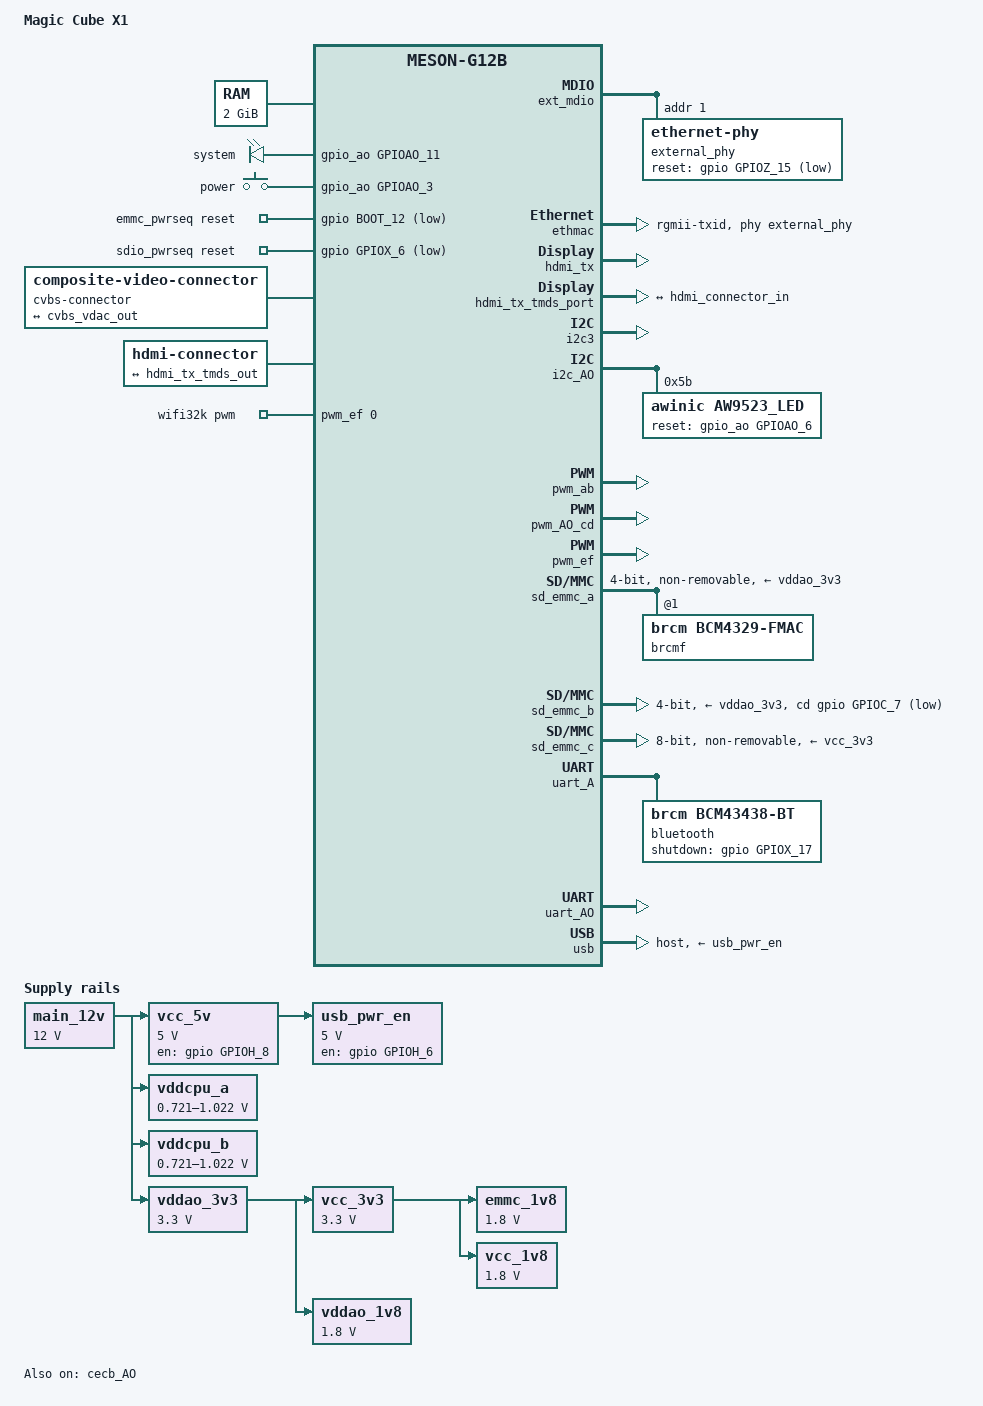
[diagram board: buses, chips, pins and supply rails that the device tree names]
/dts-v1/;

#include "meson-g12b.dtsi"
#include "meson-g12b-s922x.dtsi"
#include <dt-bindings/input/input.h>
#include <dt-bindings/leds/common.h>
#include <dt-bindings/gpio/meson-g12a-gpio.h>

/ {
	compatible = "amlogic,a311d", "amlogic,g12b";
	model = "Magic Cube X1";

	aliases {
		serial0 = &uart_AO;
		ethernet0 = &ethmac;
	};

	chosen {
		stdout-path = "serial0:115200n8";
	};

	memory@0 {
		device_type = "memory";
		reg = <0x0 0x0 0x0 0x80000000>;
	};

	leds {
		compatible = "gpio-leds";

		system-led {
			label = "system";
			gpios = <&gpio_ao GPIOAO_11 GPIO_ACTIVE_HIGH>;
			default-state = "on";
		};
	};

/*
	adc-keys {
		compatible = "adc-keys";
		io-channels = <&saradc 2>;
		io-channel-names = "buttons";
		keyup-threshold-microvolt = <1800000>;

		button-f7 {
			label = "F7";
			linux,code = <KEY_F7>;
			// press-threshold-microvolt = <10000>;
		};

		button-down {
			label = "Volume Down";
			linux,code = <KEY_VOLUMEDOWN>;
			// press-threshold-microvolt = <252000>;
		};

		button-up {
			label = "Volume Up";
			linux,code = <KEY_VOLUMEUP>;
			// press-threshold-microvolt = <468000>;
		};

		button-ctrl {
			label = "Ctrl";
			linux,code = <KEY_RIGHTCTRL>;
			// press-threshold-microvolt = <0>;
		};
	};
*/
	gpio-keys-polled {
		compatible = "gpio-keys-polled";
		poll-interval = <100>;

		power-button {
			label = "power";
			linux,code = <KEY_POWER>;
			gpios = <&gpio_ao GPIOAO_3 GPIO_ACTIVE_HIGH>; // sch
		};
	};

	emmc_pwrseq: emmc-pwrseq {
		compatible = "mmc-pwrseq-emmc";
		reset-gpios = <&gpio BOOT_12 GPIO_ACTIVE_LOW>; // sch
	};

	sdio_pwrseq: sdio-pwrseq {
		compatible = "mmc-pwrseq-simple";
		reset-gpios = <&gpio GPIOX_6 GPIO_ACTIVE_LOW>; // sch
		clocks = <&wifi32k>;
		clock-names = "ext_clock";
	};

	emmc_1v8: regulator-emmc_1v8 { // sch: flash
		compatible = "regulator-fixed";
		regulator-name = "EMMC_1V8";
		regulator-min-microvolt = <1800000>;
		regulator-max-microvolt = <1800000>;
		vin-supply = <&vcc_3v3>;
		regulator-always-on;
	};

	main_12v: regulator-main_12v { // sch
		compatible = "regulator-fixed";
		regulator-name = "12V";
		regulator-min-microvolt = <12000000>;
		regulator-max-microvolt = <12000000>;
		regulator-always-on;
	};

	vcc_5v: regulator-vcc_5v {
		compatible = "regulator-fixed";
		regulator-name = "VCC_5V";
		regulator-min-microvolt = <5000000>;
		regulator-max-microvolt = <5000000>;
		vin-supply = <&main_12v>;

		gpio = <&gpio GPIOH_8 GPIO_OPEN_DRAIN>; // sch
		enable-active-high;
	};

	vcc_1v8: regulator-vcc_1v8 { // sch
		compatible = "regulator-fixed";
		regulator-name = "VCC_1V8";
		regulator-min-microvolt = <1800000>;
		regulator-max-microvolt = <1800000>;
		vin-supply = <&vcc_3v3>;
		regulator-always-on;
	};

	vcc_3v3: regulator-vcc_3v3 { // sch
		compatible = "regulator-fixed";
		regulator-name = "VCC_3V3";
		regulator-min-microvolt = <3300000>;
		regulator-max-microvolt = <3300000>;
		vin-supply = <&vddao_3v3>;
		regulator-always-on;
		/* FIXME: actually controlled by VDDCPU_B_EN */
	};

	vddcpu_a: regulator-vddcpu-a {
		compatible = "pwm-regulator";

		regulator-name = "VDDCPU_A";
		regulator-min-microvolt = <721000>;
		regulator-max-microvolt = <1022000>;

		pwm-supply = <&main_12v>;

		pwms = <&pwm_ab 0 1250 0>;
		pwm-dutycycle-range = <100 0>;

		regulator-boot-on;
		regulator-always-on;
	};

	vddcpu_b: regulator-vddcpu-b {
		compatible = "pwm-regulator";

		regulator-name = "VDDCPU_B";
		regulator-min-microvolt = <721000>;
		regulator-max-microvolt = <1022000>;

		pwm-supply = <&main_12v>;

		pwms = <&pwm_AO_cd 1 1250 0>;
		pwm-dutycycle-range = <100 0>;

		regulator-boot-on;
		regulator-always-on;
	};

	usb_pwr_en: regulator-usb-pwr-en {
		compatible = "regulator-fixed";
		regulator-name = "USB_PWR_EN";
		regulator-min-microvolt = <5000000>;
		regulator-max-microvolt = <5000000>;
		vin-supply = <&vcc_5v>;

		/* Connected to USB3 Type-A Port power enable */
		gpio = <&gpio GPIOH_6 GPIO_ACTIVE_HIGH>; // sch
		enable-active-high;
	};

	vddao_1v8: regulator-vddao-1v8 { // sch
		compatible = "regulator-fixed";
		regulator-name = "VDDAO_1V8";
		regulator-min-microvolt = <1800000>;
		regulator-max-microvolt = <1800000>;
		vin-supply = <&vddao_3v3>;
		regulator-always-on;
	};

	vddao_3v3: regulator-vddao-3v3 { // sch
		compatible = "regulator-fixed";
		regulator-name = "VDDAO_3V3";
		regulator-min-microvolt = <3300000>;
		regulator-max-microvolt = <3300000>;
		vin-supply = <&main_12v>;
		regulator-always-on;
	};

	cvbs-connector {
		compatible = "composite-video-connector";

		port {
			cvbs_connector_in: endpoint {
				remote-endpoint = <&cvbs_vdac_out>;
			};
		};
	};

	hdmi-connector {
		compatible = "hdmi-connector";
		type = "a";

		port {
			hdmi_connector_in: endpoint {
				remote-endpoint = <&hdmi_tx_tmds_out>;
			};
		};
	};

	wifi32k: wifi32k {
		compatible = "pwm-clock";
		#clock-cells = <0>;
		clock-frequency = <32768>;
		pwms = <&pwm_ef 0 30518 0>; /* PWM_E at 32.768KHz */ // sch
	};
};

&cec_AO {
	pinctrl-0 = <&cec_ao_a_h_pins>;
	pinctrl-names = "default";
	status = "disabled";
	hdmi-phandle = <&hdmi_tx>;
};

&cecb_AO {
	pinctrl-0 = <&cec_ao_b_h_pins>;
	pinctrl-names = "default";
	status = "okay";
	hdmi-phandle = <&hdmi_tx>;
};

&cpu0 {
	cpu-supply = <&vddcpu_b>;
	operating-points-v2 = <&cpu_opp_table_0>;
	clocks = <&clkc CLKID_CPU_CLK>;
	clock-latency = <50000>;
};

&cpu1 {
	cpu-supply = <&vddcpu_b>;
	operating-points-v2 = <&cpu_opp_table_0>;
	clocks = <&clkc CLKID_CPU_CLK>;
	clock-latency = <50000>;
};

&cpu100 {
	cpu-supply = <&vddcpu_a>;
	operating-points-v2 = <&cpub_opp_table_1>;
	clocks = <&clkc CLKID_CPUB_CLK>;
	clock-latency = <50000>;
};

&cpu101 {
	cpu-supply = <&vddcpu_a>;
	operating-points-v2 = <&cpub_opp_table_1>;
	clocks = <&clkc CLKID_CPUB_CLK>;
	clock-latency = <50000>;
};

&cpu102 {
	cpu-supply = <&vddcpu_a>;
	operating-points-v2 = <&cpub_opp_table_1>;
	clocks = <&clkc CLKID_CPUB_CLK>;
	clock-latency = <50000>;
};

&cpu103 {
	cpu-supply = <&vddcpu_a>;
	operating-points-v2 = <&cpub_opp_table_1>;
	clocks = <&clkc CLKID_CPUB_CLK>;
	clock-latency = <50000>;
};

&cvbs_vdac_port {
	cvbs_vdac_out: endpoint {
		remote-endpoint = <&cvbs_connector_in>;
	};
};

&ext_mdio {
	external_phy: ethernet-phy@1 {
		/* ICPlus IP1001M: 0x02430d91 */
		reg = <1>;
		max-speed = <100>;

		reset-assert-us = <10000>;
		reset-deassert-us = <80000>;
		reset-gpios = <&gpio GPIOZ_15 (GPIO_ACTIVE_LOW | GPIO_OPEN_DRAIN)>;

		interrupt-parent = <&gpio_intc>;
		/* MAC_INTR on GPIOZ_14 */
		interrupts = <26 IRQ_TYPE_LEVEL_LOW>;
	};
};

&ethmac {
	pinctrl-0 = <&eth_pins>, <&eth_rgmii_pins>;
	pinctrl-names = "default";
	status = "okay";
	phy-mode = "rgmii-txid";
	phy-handle = <&external_phy>;
	// mc_val = <0x1609>;
	// cali_val = <0x80000>;
	// amlogic,tx-delay-ns = <0>;
	rx-internal-delay-ps = <800>;
};

&hdmi_tx {
	status = "okay";
	pinctrl-0 = <&hdmitx_hpd_pins>, <&hdmitx_ddc_pins>;
	pinctrl-names = "default";
	hdmi-supply = <&vcc_5v>;
};

&hdmi_tx_tmds_port {
	hdmi_tx_tmds_out: endpoint {
		remote-endpoint = <&hdmi_connector_in>;
	};
};

&i2c3 {
	status = "okay";
	pinctrl-0 = <&i2c3_sda_a_pins>, <&i2c3_sck_a_pins>;
	pinctrl-names = "default";

	tas5805: tas5805@2d {
		compatible = "ti,tas5805";
		#sound-dai-cells = <0x00>;
		codec_name = "tas5805";
		reg = <0x2d>;
		status = "disabled";
		reset_pin = <&gpio GPIOA_14 GPIO_ACTIVE_HIGH>; // bsp
		vol = <280>;
	};
};

&i2c_AO {
	status = "okay";
	pinctrl-0 = <&i2c_ao_sck_pins>, <&i2c_ao_sda_pins>;
	pinctrl-names = "default";

	aw9523_led: aw9523_led@5b {
		compatible = "awinic,aw9523_led";
		reg = <0x5b>;
		reset-gpio = <&gpio_ao GPIOAO_6 GPIO_ACTIVE_HIGH>; // bsp
		status = "okay";

		aw9523,led {
			aw9523,name = "aw9523_led";
			aw9523,imax = <0x03>;
			aw9523,brightness = <0x20>;
			aw9523,max_brightness = <0xff>;
			aw9523,rise_time = <0x02>;
			aw9523,on_time = <0x02>;
			aw9523,fall_time = <0x02>;
			aw9523,off_time = <0x02>;
		};
	};
};

&ir {
	// status = "okay";
	pinctrl-0 = <&remote_input_ao_pins>;
	pinctrl-names = "default";
	linux,rc-map-name = "default";
};

&pwm_ab {
	pinctrl-0 = <&pwm_a_e_pins>; // sch
	pinctrl-names = "default";
	clocks = <&xtal>;
	clock-names = "clkin0";
	status = "okay";
};

&pwm_AO_cd {
	pinctrl-0 = <&pwm_ao_d_e_pins>; // sch
	pinctrl-names = "default";
	clocks = <&xtal>;
	clock-names = "clkin1";
	status = "okay";
};

&pwm_ef {
	pinctrl-0 = <&pwm_e_pins>; // sch
	pinctrl-names = "default";
	clocks = <&xtal>;
	clock-names = "clkin0";
	status = "okay";
};

/* SDIO */
&sd_emmc_a {
	status = "okay";
	pinctrl-0 = <&sdio_pins>;
	pinctrl-1 = <&sdio_clk_gate_pins>;
	pinctrl-names = "default", "clk-gate";
	#address-cells = <1>;
	#size-cells = <0>;

	bus-width = <4>;
	cap-sd-highspeed;
	cap-mmc-highspeed;
	max-frequency = <100000000>;

	/* WiFi firmware requires power to be kept while in suspend */
	keep-power-in-suspend;

	non-removable;
	disable-wp;

	mmc-pwrseq = <&sdio_pwrseq>;

	vmmc-supply = <&vddao_3v3>;
	vqmmc-supply = <&vddao_1v8>;

	brcmf: wifi@1 {
		reg = <1>;
		compatible = "brcm,bcm4329-fmac";
		// Record only
		// interrupt_pin = <&gpio GPIOX_8 GPIO_ACTIVE_HIGH>;
		// irq_trigger_type = "GPIO_IRQ_LOW";
		// power_on_pin = <&gpio GPIOX_7 GPIO_ACTIVE_HIGH>;
	};
};

/* SD card */
&sd_emmc_b {
	status = "okay";
	pinctrl-0 = <&sdcard_c_pins>;
	pinctrl-1 = <&sdcard_clk_gate_c_pins>;
	pinctrl-names = "default", "clk-gate";

	bus-width = <4>;
	cap-sd-highspeed;
	max-frequency = <100000000>;
	disable-wp;

	cd-gpios = <&gpio GPIOC_7 GPIO_ACTIVE_LOW>; // bsp
	vmmc-supply = <&vddao_3v3>;
	vqmmc-supply = <&vddao_3v3>;
};

/* eMMC */
&sd_emmc_c {
	status = "okay";
	pinctrl-0 = <&emmc_ctrl_pins>, <&emmc_data_8b_pins>, <&emmc_ds_pins>;
	pinctrl-1 = <&emmc_clk_gate_pins>;
	pinctrl-names = "default", "clk-gate";

	bus-width = <8>;
	cap-mmc-highspeed;
	mmc-ddr-1_8v;
	mmc-hs200-1_8v;
	mmc-hs400-1_8v;
	max-frequency = <200000000>;
	non-removable;
	disable-wp;

	mmc-pwrseq = <&emmc_pwrseq>;
	vmmc-supply = <&vcc_3v3>;
	vqmmc-supply = <&emmc_1v8>;
};

&uart_A {
	status = "okay";
	pinctrl-0 = <&uart_a_pins>, <&uart_a_cts_rts_pins>;
	pinctrl-names = "default";
	uart-has-rtscts;

	bluetooth {
		compatible = "brcm,bcm43438-bt";
		shutdown-gpios = <&gpio GPIOX_17 GPIO_ACTIVE_HIGH>; // sch
		max-speed = <2000000>;
		clocks = <&wifi32k>;
		clock-names = "lpo";
		// Record only
		// gpio_reset = <&gpio GPIOX_18 GPIO_ACTIVE_HIGH>;
		// gpio_hostwake = <&gpio 0x55 GPIO_ACTIVE_HIGH>;
	};
};

&uart_AO {
	status = "okay";
	pinctrl-0 = <&uart_ao_a_pins>;
	pinctrl-names = "default";
};

&usb {
	status = "okay";
	dr_mode = "host";
	vbus-supply = <&usb_pwr_en>;
};
/*
// Record only
obe_gpio {
	compatible = "obe,gpio";
	status = "okay";
	OTG_SEL {
		status = "okay";
		dev_name = "OTG_SEL";
		pin = <&gpio GPIOA_0 GPIO_ACTIVE_HIGH>;
		direction = <0x01>;
		on_off = <0x00>;
		polar = <0x01>;
	};
	MIC_EN {
		status = "okay";
		dev_name = "MIC_EN";
		pin = <&gpio_ao GPIOAO_10 GPIO_ACTIVE_HIGH>;
		direction = <0x01>;
		on_off = <0x01>;
		polar = <0x01>;
	};
	MIC_LED {
		status = "okay";
		dev_name = "MIC_LED";
		pin = <&gpio_ao GPIOAO_11 GPIO_ACTIVE_HIGH>;
		direction = <0x01>;
		on_off = <0x00>;
		polar = <0x01>;
	};
	AV_MUTE {
		status = "okay";
		dev_name = "AV_MUTE";
		pin = <&gpio GPIOA_13 GPIO_ACTIVE_HIGH>;
		direction = <0x01>;
		on_off = <0x01>;
		polar = <0x01>;
	};
};
*/
